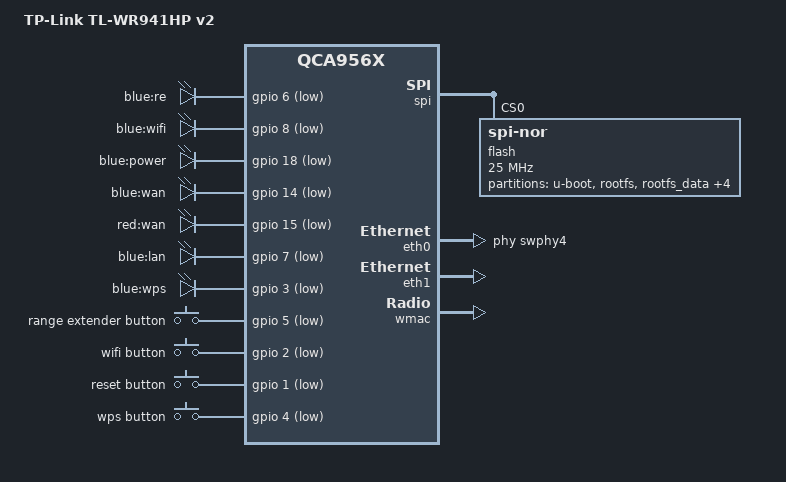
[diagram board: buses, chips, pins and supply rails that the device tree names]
// SPDX-License-Identifier: GPL-2.0-or-later OR MIT

#include "qca956x.dtsi"

#include <dt-bindings/gpio/gpio.h>
#include <dt-bindings/input/input.h>

/ {
	compatible = "tplink,tl-wr941hp-v2", "qca,tp9343";
	model = "TP-Link TL-WR941HP v2";

	aliases {
		label-mac-device = &wmac;
		led-boot = &led_power;
		led-failsafe = &led_power;
		led-running = &led_power;
		led-upgrade = &led_power;
	};

	leds {
		compatible = "gpio-leds";

		re {
			label = "blue:re";
			gpios = <&gpio 6 GPIO_ACTIVE_LOW>;
		};

		wifi {
			label = "blue:wifi";
			gpios = <&gpio 8 GPIO_ACTIVE_LOW>;
			linux,default-trigger = "phy0tpt";
		};

		led_power: power {
			label = "blue:power";
			gpios = <&gpio 18 GPIO_ACTIVE_LOW>;
			default-state = "on";
		};

		wan_blue {
			label = "blue:wan";
			gpios = <&gpio 14 GPIO_ACTIVE_LOW>;
		};

		wan_red {
			label = "red:wan";
			gpios = <&gpio 15 GPIO_ACTIVE_LOW>;
		};

		lan {
			label = "blue:lan";
			gpios = <&gpio 7 GPIO_ACTIVE_LOW>;
		};

		wps {
			label = "blue:wps";
			gpios = <&gpio 3 GPIO_ACTIVE_LOW>;
		};
	};

	keys {
		compatible = "gpio-keys";

		re {
			label = "range extender button";
			linux,code = <BTN_0>;
			gpios = <&gpio 5 GPIO_ACTIVE_LOW>;
			debounce-interval = <60>;
		};

		wifi {
			label = "wifi button";
			linux,code = <KEY_RFKILL>;
			gpios = <&gpio 2 GPIO_ACTIVE_LOW>;
			debounce-interval = <60>;
		};

		reset {
			label = "reset button";
			linux,code = <KEY_RESTART>;
			gpios = <&gpio 1 GPIO_ACTIVE_LOW>;
			debounce-interval = <60>;
		};

		wps {
			label = "wps button";
			linux,code = <KEY_WPS_BUTTON>;
			gpios = <&gpio 4 GPIO_ACTIVE_LOW>;
			debounce-interval = <60>;
		};
	};
};

&spi {
	status = "okay";

	flash@0 {
		compatible = "jedec,spi-nor";
		reg = <0>;
		spi-max-frequency = <25000000>;

		partitions {
			compatible = "fixed-partitions";
			#address-cells = <1>;
			#size-cells = <1>;

			uboot: partition@0 {
				label = "u-boot";
				reg = <0x0 0x010000>;
				read-only;
			};

			rootfs: partition@010000 {
				label = "rootfs";
				reg = <0x010000 0x6d0000>;
				read-only;
			};

			rootfs_data: partition@6d0000 {
				label = "rootfs_data";
				reg = <0x6d0000 0x700000>;
				read-only;
			};

			kernel: partition@700000 {
				label = "kernel";
				reg = <0x700000 0x810000>;
				read-only;
			};

			mib0: partition@810000{
				label = "mib0";
				reg = <0x810000 0x820000>;
				read-only;
			};

			art: partition@820000 {
				label = "art";
				reg = <0x820000 0x830000>;
				read-only;
			};

			firmware@830000 {
				label = "firmware";
				reg = <0x830000 0xffffff>;
				compatible = "tplink,firmware";
			};
		};
	};
};

&eth0 {
	status = "okay";

	phy-handle = <&swphy4>;

	mtd-mac-address = <&mib0 0x8>;
	mtd-mac-address-increment = <1>;
};

&eth1 {
	status = "okay";

	mtd-mac-address = <&mib0 0x8>;
};

&wmac {
	status = "okay";
	
	mtd-mac-address = <&mib0 0x8>;
};
